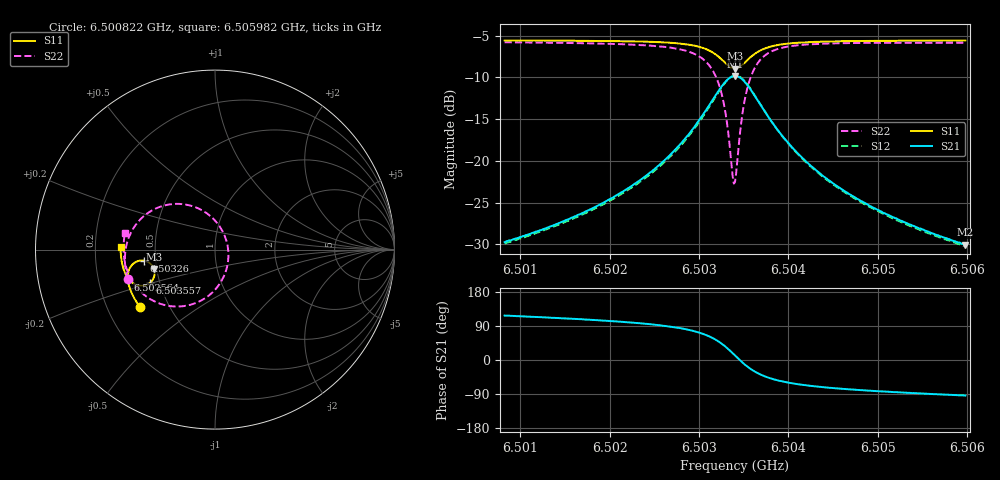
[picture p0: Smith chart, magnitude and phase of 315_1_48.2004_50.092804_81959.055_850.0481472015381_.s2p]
#  HZ  S  RI  R  50.00
! Rohde & Schwarz Vector Network Analyzer
! Rohde-Schwarz,ZNB20-2Port,1311601062101988,3.16
! Created: UTC 3/20/2024, 11:50:08 AM
! freq[Hz]  re:S11  im:S11  re:S21  im:S21  re:S12  im:S12  re:S22  im:S22
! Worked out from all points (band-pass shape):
!   401 points, 6.500822 GHz to 6.505982 GHz, reference 50 ohm
!   highest |S21| = -9.82 dB at 6.503402 GHz (marker M1); lowest = -30.0 dB at 6.505982 GHz (marker M2)
!   |S21| within 3 dB of the highest: 6.503144 GHz to 6.50366 GHz (516.1 kHz wide, 0.00794 % of centre)
!   lowest |S11| = -8.9 dB at 6.503402 GHz (marker M3), VSWR 2.11, Z = 24.2 - j6.08 ohm
!   |S11| at or under -10 dB: nowhere
!   |S22| runs from -22.7 to -5.8 dB; largest |S21 - S12| = 0.011
!   S11 on the Smith chart (normalised r, x): 6.500822 GHz: 0.34, -0.30; 6.502564 GHz: 0.33, -0.15; 6.50326 GHz: 0.43, -0.06; 6.503557 GHz: 0.44, -0.20; 6.505982 GHz: 0.31, +0.01
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6.5008223e9  -0.4203 -0.3171  -0.0149 0.0291  -0.0133 0.0291  -0.486 -0.1657
6.5016866e9  -0.4584 -0.2543  -0.0146 0.0464  -0.0122 0.046  -0.5013 -0.0756
6.502151e9  -0.4752 -0.214  -0.0119 0.0647  -0.009 0.0637  -0.4997 -0.0118
6.5025509e9  -0.4854 -0.1709  -0.00319 0.0941  0.000457 0.092  -0.4813 0.0653
6.5025638e9  -0.4855 -0.1693  -0.00265 0.0956  0.001 0.0933  -0.4801 0.0684
6.5028089e9  -0.485 -0.1341  0.0155 0.1284  0.0193 0.1247  -0.4421 0.1376
6.5029895e9  -0.4737 -0.101  0.0499 0.1643  0.053 0.159  -0.3745 0.2034
6.5031572e9  -0.4394 -0.068  0.1266 0.1974  0.1278 0.1909  -0.2335 0.2539
6.5032604e9  -0.3973 -0.0611  0.211 0.1886  0.2113 0.1833  -0.0868 0.2265
6.503312e9  -0.3721 -0.0696  0.2587 0.1609  0.2595 0.1564  -0.00755 0.1699
6.5033765e9  -0.3458 -0.0954  0.3057 0.0984  0.3081 0.0934  0.0635 0.0494
6.5034023e9  -0.3396 -0.1098  0.3159 0.0667  0.3189 0.061  0.0741 -0.00974
6.5034152e9  -0.3376 -0.1174  0.3185 0.0502  0.3216 0.0439  0.0748 -0.0397
6.5034926e9  -0.3436 -0.1615  0.3018 -0.0429  0.3037 -0.0526  0.0179 -0.2022
6.5035571e9  -0.3644 -0.1869  0.2599 -0.096  0.2587 -0.1071  -0.0766 -0.2835
6.5036603e9  -0.4031 -0.2016  0.1867 -0.1318  0.1815 -0.1409  -0.2236 -0.3169
6.503828e9  -0.4486 -0.1919  0.1066 -0.129  0.0997 -0.1339  -0.368 -0.2712
6.5040086e9  -0.4756 -0.1706  0.0629 -0.1096  0.0568 -0.1117  -0.4388 -0.2074
6.5042666e9  -0.4962 -0.1406  0.0334 -0.0856  0.0288 -0.0862  -0.4816 -0.1363
6.5046665e9  -0.5121 -0.0995  0.0142 -0.0625  0.0112 -0.0621  -0.5041 -0.0599
6.505131e9  -0.5211 -0.057  0.00496 -0.0469  0.00271 -0.0462  -0.5097 0.00387
6.5059824e9  -0.5258 0.0147  -0.00211 -0.0315  -0.00346 -0.0307  -0.5015 0.0923
